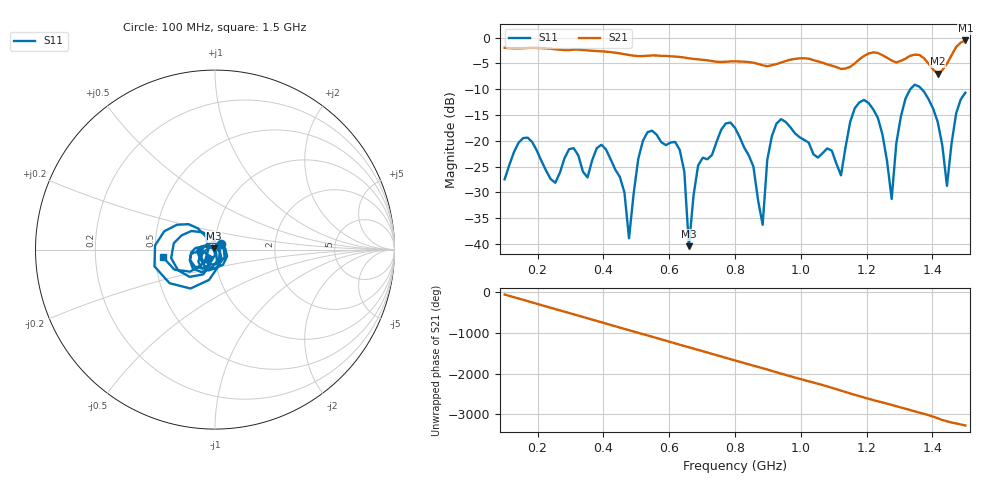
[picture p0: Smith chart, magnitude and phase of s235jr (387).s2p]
! NanoVNA-App
! Date: 2025-09-25 15:07:10
! Start: 100MHz Stop: 1,5GHz Points: 101
! S-Parameter data: F S11 S21 S12 S22
# Hz S RI R 50
!  Frequency  S11_Real  S11_Imag  S21_Real  S21_Imag  S12_Real  S12_Imag  S22_Real  S22_Imag
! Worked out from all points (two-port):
!   101 points, 100 MHz to 1.5 GHz, reference 50 ohm
!   highest |S21| = -0.55 dB at 1.5 GHz (marker M1); lowest = -7.0 dB at 1.416 GHz (marker M2)
!   |S21| within 3 dB of the highest: start of sweep to 500.6 MHz; 525.4 MHz to 590.8 MHz (65.37 MHz wide, 11.7 % of centre) (the widest 2 of 5)
!   lowest |S11| = -40.4 dB at 660 MHz (marker M3), VSWR 1.02, Z = 49.3 + j0.615 ohm
!   |S11| at or under -10 dB: start of sweep to 1.333 GHz; 1.367 GHz to end of sweep
!   S12 and S22 are empty: the file has one direction only
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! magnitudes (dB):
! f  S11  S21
! 100 MHz  -27.5  -2.0
! 170 MHz  -19.4  -2.0
! 338 MHz  -26.0  -2.4
! 408 MHz  -21.7  -2.7
! 478 MHz  -38.9  -3.4
! 520 MHz  -20.0  -3.6
! 576 MHz  -20.3  -3.5
! 632 MHz  -21.7  -3.7
! 660 MHz  -40.4  -4.0
! 688 MHz  -24.8  -4.2
! 800 MHz  -17.5  -4.6
! 884 MHz  -36.3  -5.4
! 926 MHz  -16.7  -5.1
! 1.038 GHz  -22.6  -4.3
! 1.122 GHz  -26.7  -6.1
! 1.192 GHz  -12.1  -3.6
! 1.234 GHz  -15.5  -3.0
! 1.276 GHz  -31.3  -4.4
! 1.332 GHz  -10.0  -3.5
! 1.416 GHz  -16.4  -7.0
! 1.444 GHz  -28.7  -5.1
! 1.5 GHz  -10.7  -0.6
